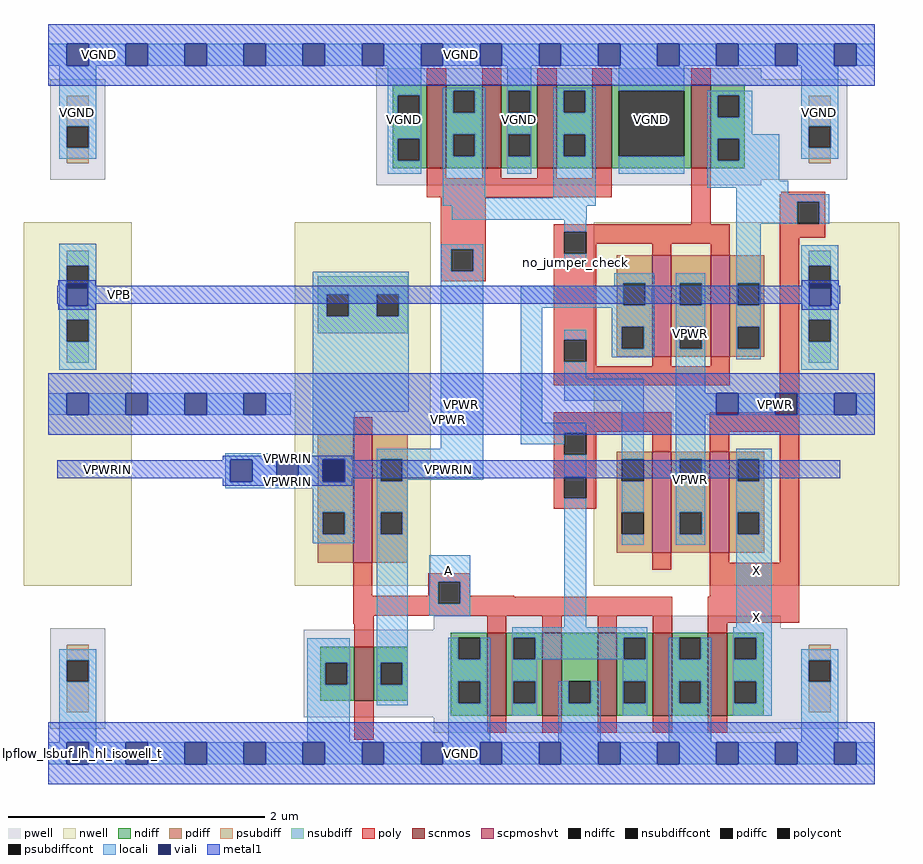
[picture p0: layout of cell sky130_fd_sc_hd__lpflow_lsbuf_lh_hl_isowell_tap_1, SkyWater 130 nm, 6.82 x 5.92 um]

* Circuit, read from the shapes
.subckt sky130_fd_sc_hd__lpflow_lsbuf_lh_hl_isowell_tap_1 A VGND VPB VPWRIN VPWR X
XM1 n1 A VGND VGND sky130_fd_pr__nfet_01v8 w=0.42 l=0.15
XM2 n2 n1 VGND VGND sky130_fd_pr__nfet_01v8 w=0.65 l=0.15 m=4
XM3 n3 A VGND VGND sky130_fd_pr__nfet_01v8 w=0.65 l=0.15 m=4
XM4 n4 n2 VGND VGND sky130_fd_pr__nfet_01v8 w=0.65 l=0.15
XM5 X n4 VGND VGND sky130_fd_pr__nfet_01v8 w=0.65 l=0.15
XM6 n1 A VPWRIN VPWRIN sky130_fd_pr__pfet_01v8_hvt w=1 l=0.15
XM7 VPWR n3 n2 VPB sky130_fd_pr__pfet_01v8_hvt w=0.79 l=0.15
XM8 VPWR n2 n3 VPB sky130_fd_pr__pfet_01v8_hvt w=0.79 l=0.15
XM9 X n4 VPWR VPB sky130_fd_pr__pfet_01v8_hvt w=0.79 l=0.15
XM10 n4 n2 VPWR VPB sky130_fd_pr__pfet_01v8_hvt w=0.79 l=0.15
.ends

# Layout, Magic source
magic
tech sky130B
magscale 1 2
<< nwell >>
rect -38 261 130 827
rect 384 261 596 827
rect 850 261 1326 827
<< pwell >>
rect 511 1050 1111 1067
rect 3 893 89 1050
rect 511 893 1245 1050
rect 511 885 1111 893
rect 601 195 1141 214
rect 3 38 89 195
rect 601 192 1245 195
rect 398 56 1245 192
rect 601 38 1245 56
rect 601 32 1141 38
<< scnmos >>
rect 590 911 620 1041
rect 676 911 706 1041
rect 762 911 792 1041
rect 848 911 878 1041
rect 1002 911 1032 1041
rect 477 82 507 166
rect 684 58 714 188
rect 770 58 800 188
rect 856 58 886 188
rect 942 58 972 188
rect 1028 58 1058 188
<< scpmoshvt >>
rect 941 618 971 776
rect 1032 618 1062 776
rect 475 297 505 497
rect 941 312 971 470
rect 1031 312 1061 470
<< ndiff >>
rect 537 1025 590 1041
rect 537 991 545 1025
rect 579 991 590 1025
rect 537 957 590 991
rect 537 923 545 957
rect 579 923 590 957
rect 537 911 590 923
rect 620 1032 676 1041
rect 620 998 631 1032
rect 665 998 676 1032
rect 620 964 676 998
rect 620 930 631 964
rect 665 930 676 964
rect 620 911 676 930
rect 706 1032 762 1041
rect 706 998 717 1032
rect 751 998 762 1032
rect 706 964 762 998
rect 706 930 717 964
rect 751 930 762 964
rect 706 911 762 930
rect 792 1032 848 1041
rect 792 998 803 1032
rect 837 998 848 1032
rect 792 964 848 998
rect 792 930 803 964
rect 837 930 848 964
rect 792 911 848 930
rect 878 1032 1002 1041
rect 878 930 889 1032
rect 991 930 1002 1032
rect 878 911 1002 930
rect 1032 1025 1085 1041
rect 1032 991 1043 1025
rect 1077 991 1085 1025
rect 1032 957 1085 991
rect 1032 923 1043 957
rect 1077 923 1085 957
rect 1032 911 1085 923
rect 627 180 684 188
rect 424 141 477 166
rect 424 107 432 141
rect 466 107 477 141
rect 424 82 477 107
rect 507 141 560 166
rect 507 107 518 141
rect 552 107 560 141
rect 507 82 560 107
rect 627 146 639 180
rect 673 146 684 180
rect 627 112 684 146
rect 627 78 639 112
rect 673 78 684 112
rect 627 58 684 78
rect 714 180 770 188
rect 714 146 725 180
rect 759 146 770 180
rect 714 112 770 146
rect 714 78 725 112
rect 759 78 770 112
rect 714 58 770 78
rect 800 112 856 188
rect 800 78 811 112
rect 845 78 856 112
rect 800 58 856 78
rect 886 180 942 188
rect 886 146 897 180
rect 931 146 942 180
rect 886 112 942 146
rect 886 78 897 112
rect 931 78 942 112
rect 886 58 942 78
rect 972 180 1028 188
rect 972 146 983 180
rect 1017 146 1028 180
rect 972 112 1028 146
rect 972 78 983 112
rect 1017 78 1028 112
rect 972 58 1028 78
rect 1058 180 1115 188
rect 1058 146 1069 180
rect 1103 146 1115 180
rect 1058 112 1115 146
rect 1058 78 1069 112
rect 1103 78 1115 112
rect 1058 58 1115 78
<< pdiff >>
rect 886 732 941 776
rect 886 698 896 732
rect 930 698 941 732
rect 886 664 941 698
rect 886 630 894 664
rect 928 630 941 664
rect 886 618 941 630
rect 971 732 1032 776
rect 971 698 984 732
rect 1018 698 1032 732
rect 971 664 1032 698
rect 971 630 984 664
rect 1018 630 1032 664
rect 971 618 1032 630
rect 1062 732 1116 776
rect 1062 698 1074 732
rect 1108 698 1116 732
rect 1062 664 1116 698
rect 1062 630 1074 664
rect 1108 630 1116 664
rect 1062 618 1116 630
rect 420 458 475 497
rect 420 424 428 458
rect 462 424 475 458
rect 420 375 475 424
rect 420 341 428 375
rect 462 341 475 375
rect 420 297 475 341
rect 505 458 560 497
rect 505 424 518 458
rect 552 424 560 458
rect 505 375 560 424
rect 886 458 941 470
rect 886 424 894 458
rect 928 424 941 458
rect 505 341 518 375
rect 552 341 560 375
rect 505 297 560 341
rect 886 375 941 424
rect 886 341 894 375
rect 928 341 941 375
rect 886 312 941 341
rect 971 458 1031 470
rect 971 424 984 458
rect 1018 424 1031 458
rect 971 375 1031 424
rect 971 341 984 375
rect 1018 341 1031 375
rect 971 312 1031 341
rect 1061 458 1116 470
rect 1061 424 1074 458
rect 1108 424 1116 458
rect 1061 375 1116 424
rect 1061 341 1074 375
rect 1108 341 1116 375
rect 1061 312 1116 341
<< ndiffc >>
rect 545 991 579 1025
rect 545 923 579 957
rect 631 998 665 1032
rect 631 930 665 964
rect 717 998 751 1032
rect 717 930 751 964
rect 803 998 837 1032
rect 803 930 837 964
rect 889 930 991 1032
rect 1043 991 1077 1025
rect 1043 923 1077 957
rect 432 107 466 141
rect 518 107 552 141
rect 639 146 673 180
rect 639 78 673 112
rect 725 146 759 180
rect 725 78 759 112
rect 811 78 845 112
rect 897 146 931 180
rect 897 78 931 112
rect 983 146 1017 180
rect 983 78 1017 112
rect 1069 146 1103 180
rect 1069 78 1103 112
<< pdiffc >>
rect 896 698 930 732
rect 894 630 928 664
rect 984 698 1018 732
rect 984 630 1018 664
rect 1074 698 1108 732
rect 1074 630 1108 664
rect 428 424 462 458
rect 428 341 462 375
rect 518 424 552 458
rect 894 424 928 458
rect 518 341 552 375
rect 894 341 928 375
rect 984 424 1018 458
rect 984 341 1018 375
rect 1074 424 1108 458
rect 1074 341 1108 375
<< psubdiff >>
rect 29 977 63 1024
rect 29 919 63 943
rect 1185 977 1219 1024
rect 1185 919 1219 943
rect 29 145 63 169
rect 29 64 63 111
rect 1185 145 1219 169
rect 1185 64 1219 111
<< nsubdiff >>
rect 29 759 63 783
rect 29 675 63 725
rect 420 715 560 743
rect 420 681 434 715
rect 468 681 512 715
rect 546 681 560 715
rect 420 654 560 681
rect 29 608 63 641
rect 1185 759 1219 783
rect 1185 675 1219 725
rect 1185 608 1219 641
<< psubdiffcont >>
rect 29 943 63 977
rect 1185 943 1219 977
rect 29 111 63 145
rect 1185 111 1219 145
<< nsubdiffcont >>
rect 29 725 63 759
rect 29 641 63 675
rect 434 681 468 715
rect 512 681 546 715
rect 1185 725 1219 759
rect 1185 641 1219 675
<< poly >>
rect 590 1041 620 1067
rect 676 1041 706 1067
rect 762 1041 792 1067
rect 848 1041 878 1067
rect 1002 1041 1032 1067
rect 590 896 620 911
rect 676 896 706 911
rect 762 896 792 911
rect 848 896 878 911
rect 590 866 878 896
rect 612 785 682 866
rect 1002 824 1032 911
rect 1142 871 1211 875
rect 1140 859 1211 871
rect 1140 825 1167 859
rect 1201 825 1211 859
rect 612 751 628 785
rect 662 751 682 785
rect 612 735 682 751
rect 788 812 1062 824
rect 788 778 804 812
rect 838 794 1062 812
rect 838 778 854 794
rect 788 644 854 778
rect 941 776 971 794
rect 1032 776 1062 794
rect 1140 803 1211 825
rect 788 610 804 644
rect 838 610 854 644
rect 788 603 854 610
rect 941 603 971 618
rect 1032 603 1062 618
rect 788 573 1062 603
rect 1140 531 1170 803
rect 475 497 505 523
rect 788 501 971 531
rect 788 499 854 501
rect 788 465 804 499
rect 838 465 854 499
rect 941 470 971 501
rect 1031 501 1170 531
rect 1031 470 1061 501
rect 788 431 854 465
rect 788 397 804 431
rect 838 397 854 431
rect 788 381 854 397
rect 475 245 505 297
rect 941 286 971 312
rect 1031 297 1061 312
rect 1140 297 1170 501
rect 592 267 658 280
rect 592 245 608 267
rect 475 233 608 245
rect 642 245 658 267
rect 642 244 726 245
rect 1031 244 1170 297
rect 642 233 972 244
rect 475 214 972 233
rect 475 202 507 214
rect 477 166 507 202
rect 684 188 714 214
rect 770 188 800 214
rect 856 188 886 214
rect 942 188 972 214
rect 1028 203 1170 244
rect 1028 188 1058 203
rect 477 21 507 82
rect 684 32 714 58
rect 770 32 800 58
rect 856 32 886 58
rect 942 32 972 58
rect 1028 32 1058 58
<< polycont >>
rect 1167 825 1201 859
rect 628 751 662 785
rect 804 778 838 812
rect 804 610 838 644
rect 804 465 838 499
rect 804 397 838 431
rect 608 233 642 267
<< locali >>
rect 0 1071 29 1105
rect 63 1071 121 1105
rect 155 1071 213 1105
rect 247 1071 305 1105
rect 339 1071 397 1105
rect 431 1071 489 1105
rect 523 1071 581 1105
rect 615 1071 673 1105
rect 707 1071 765 1105
rect 799 1071 857 1105
rect 891 1071 949 1105
rect 983 1071 1041 1105
rect 1075 1071 1133 1105
rect 1167 1071 1225 1105
rect 1259 1071 1288 1105
rect 17 977 75 1071
rect 17 943 29 977
rect 63 943 75 977
rect 17 926 75 943
rect 529 1025 581 1071
rect 529 991 545 1025
rect 579 991 581 1025
rect 529 957 581 991
rect 529 923 545 957
rect 579 923 581 957
rect 529 903 581 923
rect 615 1032 681 1037
rect 615 998 631 1032
rect 665 998 681 1032
rect 615 964 681 998
rect 615 930 631 964
rect 665 930 681 964
rect 615 865 681 930
rect 715 1032 753 1071
rect 715 998 717 1032
rect 751 998 753 1032
rect 715 964 753 998
rect 715 930 717 964
rect 751 930 753 964
rect 715 903 753 930
rect 787 1032 853 1037
rect 787 998 803 1032
rect 837 998 853 1032
rect 787 964 853 998
rect 787 930 803 964
rect 837 930 853 964
rect 787 865 853 930
rect 889 1032 991 1071
rect 889 903 991 930
rect 1027 1025 1097 1032
rect 1027 991 1043 1025
rect 1077 991 1097 1025
rect 1027 964 1097 991
rect 1173 977 1231 1071
rect 1027 957 1139 964
rect 1027 923 1043 957
rect 1077 923 1139 957
rect 1173 943 1185 977
rect 1219 943 1231 977
rect 1173 926 1231 943
rect 1027 892 1139 923
rect 1027 881 1153 892
rect 615 853 853 865
rect 1072 871 1153 881
rect 1072 859 1217 871
rect 629 831 839 853
rect 804 812 838 831
rect 17 759 75 794
rect 17 731 29 759
rect 17 697 28 731
rect 63 725 75 759
rect 612 785 678 793
rect 612 751 628 785
rect 662 751 678 785
rect 804 762 838 778
rect 1072 825 1167 859
rect 1201 825 1217 859
rect 62 697 75 725
rect 17 675 75 697
rect 17 641 29 675
rect 63 641 75 675
rect 17 597 75 641
rect 412 715 562 750
rect 412 681 434 715
rect 468 681 512 715
rect 546 681 562 715
rect 0 527 29 561
rect 63 527 121 561
rect 155 527 213 561
rect 247 527 305 561
rect 339 527 378 561
rect 412 532 562 681
rect 412 467 478 532
rect 612 474 678 751
rect 882 732 944 748
rect 882 728 896 732
rect 736 698 896 728
rect 930 698 944 732
rect 736 694 944 698
rect 736 515 770 694
rect 878 664 944 694
rect 804 644 838 660
rect 878 630 894 664
rect 928 630 944 664
rect 878 617 944 630
rect 978 732 1024 748
rect 978 698 984 732
rect 1018 698 1024 732
rect 978 664 1024 698
rect 978 630 984 664
rect 1018 630 1024 664
rect 804 583 838 610
rect 804 549 928 583
rect 736 499 838 515
rect 736 481 804 499
rect 276 458 478 467
rect 276 457 428 458
rect 276 423 284 457
rect 318 423 356 457
rect 390 423 428 457
rect 462 423 478 458
rect 276 413 478 423
rect 412 375 478 413
rect 412 341 428 375
rect 462 341 478 375
rect 412 327 478 341
rect 512 458 678 474
rect 512 424 518 458
rect 552 426 678 458
rect 804 431 838 465
rect 552 424 560 426
rect 512 375 560 424
rect 512 341 518 375
rect 552 341 560 375
rect 17 145 75 162
rect 17 111 29 145
rect 63 111 75 145
rect 17 17 75 111
rect 404 141 470 179
rect 404 107 432 141
rect 466 107 470 141
rect 404 17 470 107
rect 512 141 560 341
rect 594 267 658 308
rect 594 233 608 267
rect 642 233 658 267
rect 594 214 658 233
rect 804 196 838 397
rect 894 458 928 549
rect 894 375 928 424
rect 894 325 928 341
rect 978 561 1024 630
rect 1072 732 1110 825
rect 1072 698 1074 732
rect 1108 698 1110 732
rect 1072 664 1110 698
rect 1072 630 1074 664
rect 1108 630 1110 664
rect 1072 614 1110 630
rect 1173 759 1231 791
rect 1173 725 1185 759
rect 1219 731 1231 759
rect 1173 697 1186 725
rect 1220 697 1231 731
rect 1173 675 1231 697
rect 1173 641 1185 675
rect 1219 641 1231 675
rect 1173 597 1231 641
rect 978 527 1041 561
rect 1075 527 1133 561
rect 1167 527 1225 561
rect 1259 527 1288 561
rect 978 458 1024 527
rect 978 424 984 458
rect 1018 424 1024 458
rect 978 375 1024 424
rect 978 341 984 375
rect 1018 341 1024 375
rect 978 325 1024 341
rect 1072 458 1127 474
rect 1072 424 1074 458
rect 1108 424 1127 458
rect 1072 375 1127 424
rect 1072 341 1074 375
rect 1108 341 1127 375
rect 1072 196 1127 341
rect 723 180 933 196
rect 1067 180 1127 196
rect 512 107 518 141
rect 552 107 560 141
rect 512 75 560 107
rect 623 146 639 180
rect 673 146 689 180
rect 623 112 689 146
rect 623 78 639 112
rect 673 78 689 112
rect 623 17 689 78
rect 723 146 725 180
rect 759 146 897 180
rect 931 146 933 180
rect 723 112 761 146
rect 895 112 933 146
rect 723 78 725 112
rect 759 78 761 112
rect 723 58 761 78
rect 795 78 811 112
rect 845 78 861 112
rect 795 17 861 78
rect 895 78 897 112
rect 931 78 933 112
rect 895 58 933 78
rect 967 146 983 180
rect 1017 146 1033 180
rect 967 112 1033 146
rect 967 78 983 112
rect 1017 78 1033 112
rect 967 17 1033 78
rect 1067 146 1069 180
rect 1103 146 1127 180
rect 1067 112 1127 146
rect 1067 78 1069 112
rect 1103 78 1127 112
rect 1067 58 1127 78
rect 1173 145 1231 162
rect 1173 111 1185 145
rect 1219 111 1231 145
rect 1173 17 1231 111
rect 0 -17 29 17
rect 63 -17 121 17
rect 155 -17 213 17
rect 247 -17 305 17
rect 339 -17 397 17
rect 431 -17 489 17
rect 523 -17 581 17
rect 615 -17 673 17
rect 707 -17 765 17
rect 799 -17 857 17
rect 891 -17 949 17
rect 983 -17 1041 17
rect 1075 -17 1133 17
rect 1167 -17 1225 17
rect 1259 -17 1288 17
<< viali >>
rect 29 1071 63 1105
rect 121 1071 155 1105
rect 213 1071 247 1105
rect 305 1071 339 1105
rect 397 1071 431 1105
rect 489 1071 523 1105
rect 581 1071 615 1105
rect 673 1071 707 1105
rect 765 1071 799 1105
rect 857 1071 891 1105
rect 949 1071 983 1105
rect 1041 1071 1075 1105
rect 1133 1071 1167 1105
rect 1225 1071 1259 1105
rect 28 725 29 731
rect 29 725 62 731
rect 28 697 62 725
rect 29 527 63 561
rect 121 527 155 561
rect 213 527 247 561
rect 305 527 339 561
rect 284 423 318 457
rect 356 423 390 457
rect 428 424 462 457
rect 428 423 462 424
rect 1186 725 1219 731
rect 1219 725 1220 731
rect 1186 697 1220 725
rect 1041 527 1075 561
rect 1133 527 1167 561
rect 1225 527 1259 561
rect 29 -17 63 17
rect 121 -17 155 17
rect 213 -17 247 17
rect 305 -17 339 17
rect 397 -17 431 17
rect 489 -17 523 17
rect 581 -17 615 17
rect 673 -17 707 17
rect 765 -17 799 17
rect 857 -17 891 17
rect 949 -17 983 17
rect 1041 -17 1075 17
rect 1133 -17 1167 17
rect 1225 -17 1259 17
<< metal1 >>
rect 0 1105 1288 1136
rect 0 1071 29 1105
rect 63 1071 121 1105
rect 155 1071 213 1105
rect 247 1071 305 1105
rect 339 1071 397 1105
rect 431 1071 489 1105
rect 523 1071 581 1105
rect 615 1071 673 1105
rect 707 1071 765 1105
rect 799 1071 857 1105
rect 891 1071 949 1105
rect 983 1071 1041 1105
rect 1075 1071 1133 1105
rect 1167 1071 1225 1105
rect 1259 1071 1288 1105
rect 0 1040 1288 1071
rect 16 731 74 737
rect 16 728 28 731
rect 14 700 28 728
rect 16 697 28 700
rect 62 728 74 731
rect 1174 731 1232 737
rect 1174 728 1186 731
rect 62 700 1186 728
rect 62 697 74 700
rect 16 691 74 697
rect 1174 697 1186 700
rect 1220 728 1232 731
rect 1220 700 1234 728
rect 1220 697 1232 700
rect 1174 691 1232 697
rect 0 561 1288 592
rect 0 527 29 561
rect 63 527 121 561
rect 155 527 213 561
rect 247 527 305 561
rect 339 527 1041 561
rect 1075 527 1133 561
rect 1167 527 1225 561
rect 1259 527 1288 561
rect 0 496 1288 527
rect 272 457 474 463
rect 272 456 284 457
rect 14 428 284 456
rect 272 423 284 428
rect 318 423 356 457
rect 390 423 428 457
rect 462 456 474 457
rect 462 428 1234 456
rect 462 423 474 428
rect 272 417 474 423
rect 0 17 1288 48
rect 0 -17 29 17
rect 63 -17 121 17
rect 155 -17 213 17
rect 247 -17 305 17
rect 339 -17 397 17
rect 431 -17 489 17
rect 523 -17 581 17
rect 615 -17 673 17
rect 707 -17 765 17
rect 799 -17 857 17
rect 891 -17 949 17
rect 983 -17 1041 17
rect 1075 -17 1133 17
rect 1167 -17 1225 17
rect 1259 -17 1288 17
rect 0 -48 1288 -17
<< labels >>
rlabel comment s 0 0 0 0 4 lpflow_lsbuf_lh_hl_isowell_tap_1
flabel comment s 821 764 821 764 0 FreeSans 200 90 0 0 no_jumper_check
flabel metal1 s 66 1071 94 1105 0 FreeSans 200 0 0 0 VGND
port 2 nsew ground bidirectional abutment
flabel metal1 s 98 700 125 728 0 FreeSans 200 0 0 0 VPB
port 3 nsew power bidirectional
flabel metal1 s 82 -11 116 23 0 FreeSans 200 0 0 0 VGND
port 2 nsew ground bidirectional abutment
flabel metal1 s 87 428 99 456 0 FreeSans 200 0 0 0 VPWRIN
port 4 nsew power bidirectional abutment
flabel metal1 s 0 496 1248 544 0 FreeSans 200 0 0 0 VPWR
port 5 nsew power bidirectional abutment
flabel locali s 607 268 641 302 0 FreeSans 340 0 0 0 A
port 1 nsew signal input
flabel locali s 1087 268 1121 302 0 FreeSans 340 0 0 0 X
port 6 nsew signal output
flabel locali s 1087 194 1121 228 0 FreeSans 340 0 0 0 X
port 6 nsew signal output
rlabel locali s 1173 926 1231 1071 1 VGND
port 2 nsew ground bidirectional abutment
rlabel locali s 889 903 991 1071 1 VGND
port 2 nsew ground bidirectional abutment
rlabel locali s 715 903 753 1071 1 VGND
port 2 nsew ground bidirectional abutment
rlabel locali s 529 903 581 1071 1 VGND
port 2 nsew ground bidirectional abutment
rlabel locali s 17 926 75 1071 1 VGND
port 2 nsew ground bidirectional abutment
rlabel locali s 0 1071 1288 1105 1 VGND
port 2 nsew ground bidirectional abutment
rlabel metal1 s 0 -48 1288 48 1 VGND
port 2 nsew ground bidirectional abutment
rlabel metal1 s 0 1040 1288 1136 1 VGND
port 2 nsew ground bidirectional abutment
rlabel locali s 978 561 1024 748 1 VPWR
port 5 nsew power bidirectional abutment
rlabel locali s 978 527 1288 561 1 VPWR
port 5 nsew power bidirectional abutment
rlabel locali s 978 325 1024 527 1 VPWR
port 5 nsew power bidirectional abutment
rlabel metal1 s 0 496 1288 592 1 VPWR
port 5 nsew power bidirectional abutment
rlabel metal1 s 272 456 474 463 1 VPWRIN
port 4 nsew power bidirectional abutment
rlabel metal1 s 272 417 474 428 1 VPWRIN
port 4 nsew power bidirectional abutment
rlabel metal1 s 14 428 1234 456 1 VPWRIN
port 4 nsew power bidirectional abutment
<< properties >>
string FIXED_BBOX 0 0 1288 1088
string GDS_END 1539492
string GDS_FILE $PDKPATH/libs.ref/sky130_fd_sc_hd/gds/sky130_fd_sc_hd.gds
string GDS_START 1526250
string LEFclass CORE WELLTAP
string LEFsite unithddbl
string LEFsymmetry X Y R90
<< end >>
